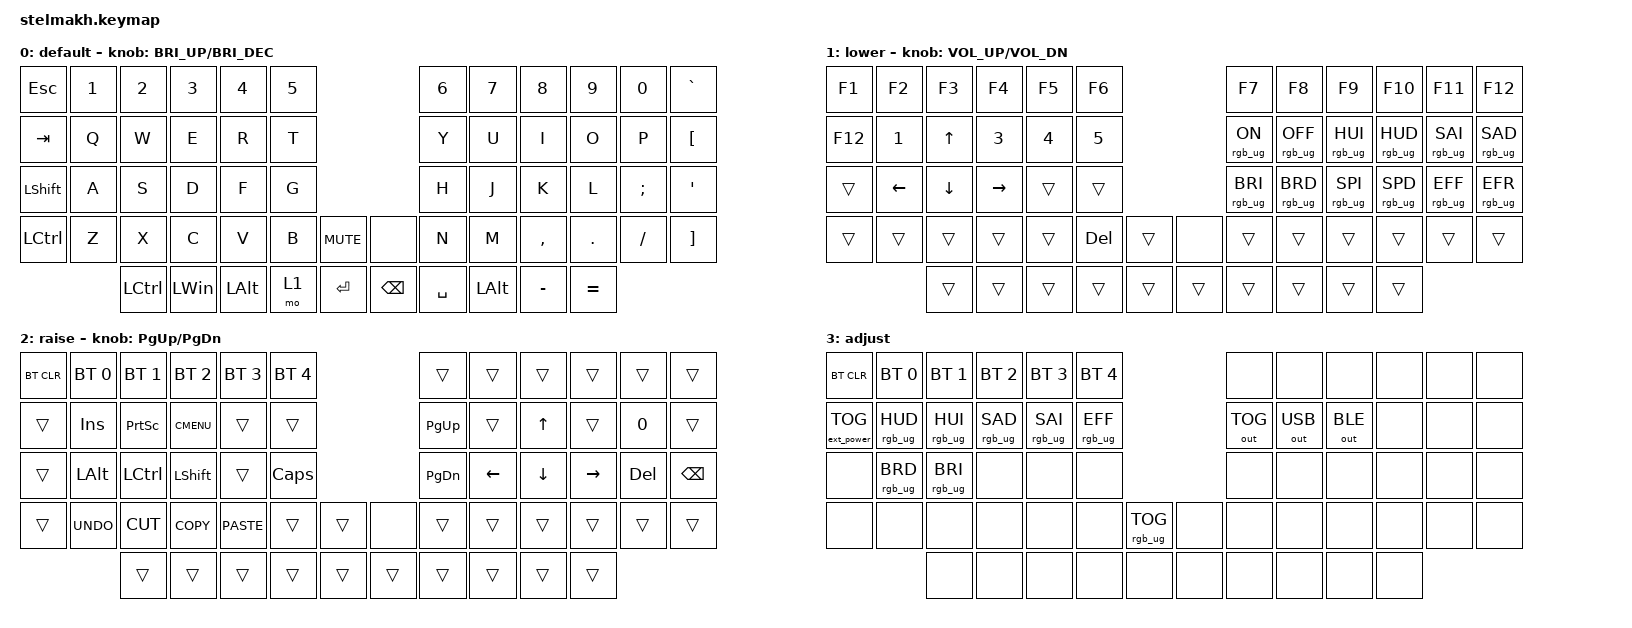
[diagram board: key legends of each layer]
/*
 * Copyright (c) 2020 The ZMK Contributors
 *
 * SPDX-License-Identifier: MIT
 */

#include <behaviors.dtsi>
#include <dt-bindings/zmk/bt.h>
#include <dt-bindings/zmk/ext_power.h>
#include <dt-bindings/zmk/keys.h>
#include <dt-bindings/zmk/mouse.h>
#include <dt-bindings/zmk/outputs.h>
#include <dt-bindings/zmk/rgb.h>

#define ZMK_MOUSE_DEFAULT_MOVE_VAL 1200  // 600
#define ZMK_MOUSE_DEFAULT_SCRL_VAL 20    // 10

#define BASE 0
#define LOWER 1
#define RAISE 2
#define ADJUST 3

/ {
    // ───────────────────────────────────────────────────────────
    // Макросы для тачпада — переключение рабочих столов
    // боковыми кнопками трекпада (Azoteq button-6 / button-7)
    // ───────────────────────────────────────────────────────────
    behaviors {
        ws_left: workspace_left {
            compatible = "zmk,behavior-macro";
            #binding-cells = <0>;
            bindings = <&kp LC(LEFT)>;
        };

        ws_right: workspace_right {
            compatible = "zmk,behavior-macro";
            #binding-cells = <0>;
            bindings = <&kp LC(RIGHT)>;
        };
    };

    mouse_buttons {
        compatible = "zmk,mouse-button-behaviors";
        button-6 = <&ws_left>;
        button-7 = <&ws_right>;
    };

    conditional_layers {
        compatible = "zmk,conditional-layers";

        adjust_layer {
            if-layers = <LOWER RAISE>;
            then-layer = <ADJUST>;
        };
    };

    // ───────────────────────────────────────────────────────────
    // Комбо-клавиши (привязаны к физическим позициям Stelmakh)
    // ───────────────────────────────────────────────────────────
    combos {
        compatible = "zmk,combos";

        EscKey {
            bindings = <&kp ESC>;
            key-positions = <0 12>;
            timeout-ms = <100>;
            layers = <0>;
        };

        TildaSign {
            bindings = <&kp TILDE>;
            key-positions = <23 35>;
            layers = <0>;
            timeout-ms = <25>;
        };

        GraveSign {
            bindings = <&kp GRAVE>;
            key-positions = <35 49>;
            layers = <0>;
            timeout-ms = <25>;
        };

        PlusSign {
            bindings = <&kp PLUS>;
            key-positions = <2 3>;
            layers = <0>;
            timeout-ms = <25>;
        };

        MinusSign {
            bindings = <&kp MINUS>;
            key-positions = <3 4>;
            timeout-ms = <25>;
            layers = <0>;
        };

        ParaLeft {
            bindings = <&kp LPAR>;
            key-positions = <17 16>;
            timeout-ms = <25>;
            layers = <0>;
        };

        CommaSign {
            bindings = <&kp COMMA>;
            key-positions = <4 5>;
            timeout-ms = <25>;
            layers = <0>;
        };

        BracketLeft {
            bindings = <&kp LBKT>;
            key-positions = <29 28>;
            timeout-ms = <25>;
            layers = <0>;
        };

        BraceLeft {
            bindings = <&kp LBRC>;
            key-positions = <41 40>;
            timeout-ms = <25>;
            layers = <0>;
        };

        ParaRight {
            bindings = <&kp RPAR>;
            key-positions = <18 19>;
            timeout-ms = <25>;
            layers = <0>;
        };

        BracketRight {
            bindings = <&kp RIGHT_BRACKET>;
            key-positions = <30 31>;
            timeout-ms = <25>;
            layers = <0>;
        };

        BraceRight {
            bindings = <&kp RIGHT_BRACE>;
            key-positions = <44 45>;
            layers = <0>;
            timeout-ms = <25>;
        };

        UnderscoreSign {
            bindings = <&kp UNDER>;
            key-positions = <7 8>;
            timeout-ms = <25>;
            layers = <0>;
        };

        DotSign {
            bindings = <&kp DOT>;
            key-positions = <6 7>;
            timeout-ms = <25>;
            layers = <0>;
        };

        PipeSign {
            bindings = <&kp PIPE>;
            key-positions = <9 8>;
            timeout-ms = <25>;
            layers = <0>;
        };

        CAPSLO {
            bindings = <&kp CLCK>;
            key-positions = <12 24>;
            layers = <0>;
            timeout-ms = <100>;
        };
    };

    keymap {
        compatible = "zmk,keymap";

        default_layer {
            label = "default";

            // ------------------------------------------------------------------------------------------------------------
            // |   `   |  1  |  2  |  3   |  4   |  5   |                   |  6   |  7    |  8    |  9   |   0   |       |
            // |  ESC  |  Q  |  W  |  E   |  R   |  T   |                   |  Y   |  U    |  I    |  O   |   P   | BKSPC |
            // |  TAB  |  A  |  S  |  D   |  F   |  G   |                   |  H   |  J    |  K    |  L   |   ;   |   '   |
            // | SHIFT |  Z  |  X  |  C   |  V   |  B   | MUTE  |  |        |  N   |  M    |  ,    |  .   |   /   | SHIFT |
            //               | GUI | ALT  | CTRL | LOWER| ENTER |  | BSPC  | SPACE| ALT   |  -    |  =   |

            bindings = <
&kp ESC           &kp N1  &kp N2            &kp N3    &kp N4    &kp N5                              &kp N6         &kp N7        &kp N8     &kp N9   &kp N0    &kp GRAVE
&kp TAB           &kp Q   &kp W             &kp E     &kp R     &kp T                               &kp Y          &kp U         &kp I      &kp O    &kp P     &kp LEFT_BRACKET
&kp LSHFT         &kp A   &kp S             &kp D     &kp F     &kp G                               &kp H          &kp J         &kp K      &kp L    &kp SEMI  &kp SQT
&kp LEFT_CONTROL  &kp Z   &kp X             &kp C     &kp V     &kp B   &kp C_MUTE    &none         &kp N          &kp M         &kp COMMA  &kp DOT  &kp FSLH  &kp RIGHT_BRACKET
                          &kp LEFT_CONTROL  &kp LWIN  &kp LALT  &mo 1   &kp ENTER     &kp BACKSPACE &kp SPACE      &kp LEFT_ALT  &kp MINUS  &kp EQUAL
            >;

            sensor-bindings = <&inc_dec_kp C_BRI_UP C_BRI_DEC>;
        };

        lower_layer {
            label = "lower";

            // ------------------------------------------------------------------------------------------------------------
            // |  F1  |  F2  |  F3  |  F4  |  F5  |  F6  |                  |  F7  |  F8  |  F9  |  F10 |  F11  |  F12 |
            // |  F12 |  1   |  ↑   |  3   |  4   |  5   |                  | RGB+ | RGB- | HUE+ | HUE- |  SAT+ | SAT- |
            // |      |  ←   |  ↓   |  →   |      |      |                  | BRI+ | BRI- | SPD+ | SPD- |  EFF+ | EFF- |
            // |      |      |      |      |      | DEL  |       |  |        |      |      |      |      |       |      |
            //               |      |      |      |      |       |  |        |      |      |      |      |

            bindings = <
&kp F1   &kp F2    &kp F3    &kp F4     &kp F5  &kp F6                   &kp F7           &kp F8           &kp F9           &kp F10          &kp F11          &kp F12
&kp F12  &kp N1    &kp UP    &kp N3     &kp N4  &kp N5                   &rgb_ug RGB_ON   &rgb_ug RGB_OFF  &rgb_ug RGB_HUI  &rgb_ug RGB_HUD  &rgb_ug RGB_SAI  &rgb_ug RGB_SAD
&trans   &kp LEFT  &kp DOWN  &kp RIGHT  &trans  &trans                   &rgb_ug RGB_BRI  &rgb_ug RGB_BRD  &rgb_ug RGB_SPI  &rgb_ug RGB_SPD  &rgb_ug RGB_EFF  &rgb_ug RGB_EFR
&trans   &trans    &trans    &trans     &trans  &kp DEL  &trans   &none  &trans           &trans           &trans           &trans           &trans           &trans
                   &trans    &trans     &trans  &trans   &trans   &trans &trans           &trans           &trans           &trans
            >;

            sensor-bindings = <&inc_dec_kp C_VOL_UP C_VOL_DN>;
        };

        raise_layer {
            label = "raise";

            // ------------------------------------------------------------------------------------------------------------
            // | BTCLR | BT1  | BT2  |  BT3  |  BT4  |  BT5 |                |      |      |       |      |       |       |
            // |       | INS  | PSCR | MENU  |       |      |                | PGUP |      |   ↑   |      |       |       |
            // |       | ALT  | CTRL | SHIFT |       | CAPS |                | PGDN |  ←   |   ↓   |  →   |  DEL  | BKSPC |
            // |       | UNDO | CUT  | COPY  | PASTE |      |      |  |      |      |      |       |      |       |       |
            //                |      |       |       |      |      |  |      |      |      |       |      |

            bindings = <
&bt BT_CLR  &bt BT_SEL 0  &bt BT_SEL 1  &bt BT_SEL 2  &bt BT_SEL 3  &bt BT_SEL 4                   &trans     &trans    &trans    &trans     &trans   &trans
&trans      &kp INS       &kp PSCRN     &kp K_CMENU   &trans        &trans                         &kp PG_UP  &trans    &kp UP    &trans     &kp N0   &trans
&trans      &kp LALT      &kp LCTRL     &kp LSHFT     &trans        &kp CLCK                       &kp PG_DN  &kp LEFT  &kp DOWN  &kp RIGHT  &kp DEL  &kp BSPC
&trans      &kp K_UNDO    &kp K_CUT     &kp K_COPY    &kp K_PASTE   &trans       &trans    &none   &trans     &trans    &trans    &trans     &trans   &trans
                          &trans        &trans        &trans        &trans       &trans    &trans  &trans     &trans    &trans    &trans
            >;

            sensor-bindings = <&inc_dec_kp PG_UP PG_DN>;
        };

        adjust_layer {
            label = "adjust";

            // ----------------------------------------------------------------------------------------------------------------------------
            // | BTCLR  |  BT1    |  BT2    |   BT3   |   BT4   |   BT5   |                  |      |      |       |      |       |       |
            // | EXTPWR | RGB_HUD | RGB_HUI | RGB_SAD | RGB_SAI | RGB_EFF |                  | OUT  | USB  |  BLE  |      |       |       |
            // |        | RGB_BRD | RGB_BRI |         |         |         |                  |      |      |       |      |       |       |
            // |        |         |         |         |         |         | RGB_TOG |  |      |      |      |       |      |       |       |
            //                    |         |         |         |         |         |  |      |      |      |       |      |

            bindings = <
&bt BT_CLR         &bt BT_SEL 0     &bt BT_SEL 1     &bt BT_SEL 2     &bt BT_SEL 3     &bt BT_SEL 4                               &none         &none         &none         &none  &none  &none
&ext_power EP_TOG  &rgb_ug RGB_HUD  &rgb_ug RGB_HUI  &rgb_ug RGB_SAD  &rgb_ug RGB_SAI  &rgb_ug RGB_EFF                            &out OUT_TOG  &out OUT_USB  &out OUT_BLE  &none  &none  &none
&none              &rgb_ug RGB_BRD  &rgb_ug RGB_BRI  &none            &none            &none                                      &none         &none         &none         &none  &none  &none
&none              &none            &none            &none            &none            &none            &rgb_ug RGB_TOG    &none  &none         &none         &none         &none  &none  &none
                                    &none            &none            &none            &none            &none              &none  &none         &none         &none         &none
            >;
        };
    };
};
